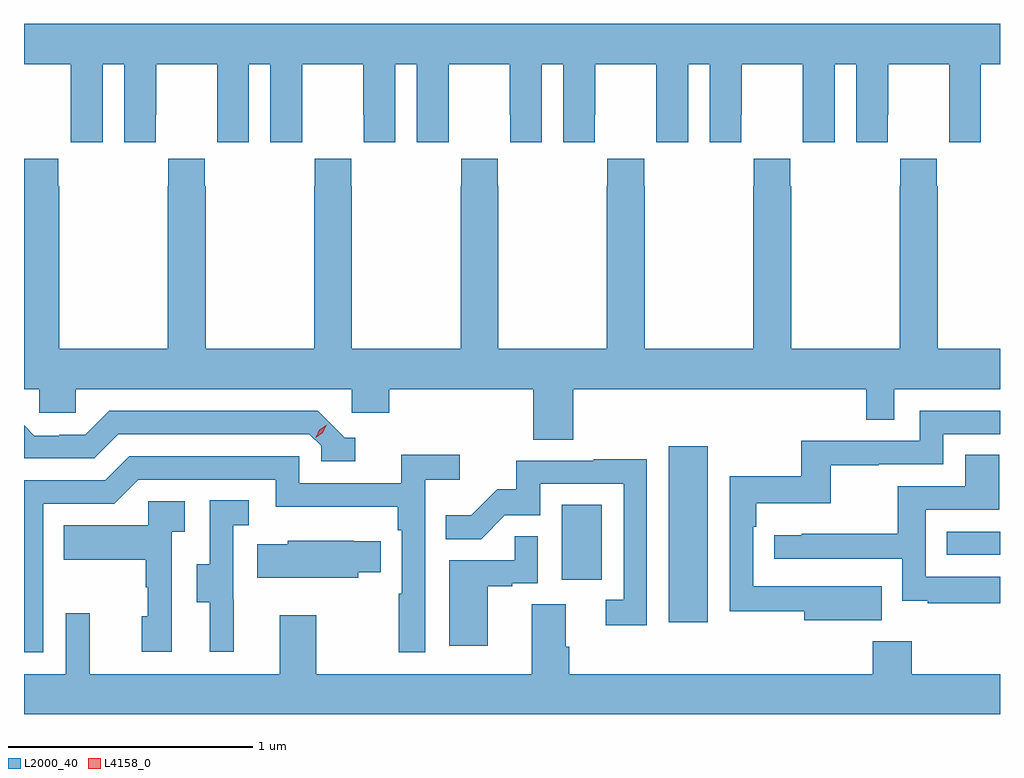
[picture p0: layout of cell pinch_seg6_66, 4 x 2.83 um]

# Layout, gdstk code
import gdstk
lib = gdstk.Library(unit=1e-6, precision=1e-09)
def R(c, l, rs):  # rectangles x0, y0, x1, y1
    for r in rs: c.add(gdstk.rectangle(r[:2], r[2:], *l))
def P(c, l, *ps):  # polygons
    for p in ps: c.add(gdstk.Polygon(p, *l))
L2000_40 = (2000, 40)
L4158_0 = (4158, 0)

pinch_seg6_66 = lib.new_cell('pinch_seg6_66')
R(pinch_seg6_66, L2000_40, [(889.52,926.4,889.681,927.121), (889.082,926.574,889.246,926.881), (890.659,926.676,890.878,926.772)])
P(pinch_seg6_66, L2000_40, [(886.878,928.688),(887.069,928.688),(887.069,928.48),(887.07,928.48),(887.07,928.368),(887.2,928.368),(887.2,928.688),(887.288,928.688),(887.288,928.368),(887.418,928.368),(887.418,928.48),(887.419,928.48),(887.419,928.688),(887.669,928.688),(887.669,928.48),(887.67,928.48),(887.67,928.368),(887.8,928.368),(887.8,928.688),(887.888,928.688),(887.888,928.368),(888.018,928.368),(888.018,928.48),(888.019,928.48),(888.019,928.688),(888.269,928.688),(888.269,928.48),(888.27,928.48),(888.27,928.368),(888.4,928.368),(888.4,928.688),(888.488,928.688),(888.488,928.368),(888.618,928.368),(888.618,928.48),(888.619,928.48),(888.619,928.688),(888.869,928.688),(888.869,928.48),(888.87,928.48),(888.87,928.368),(889,928.368),(889,928.688),(889.088,928.688),(889.088,928.368),(889.218,928.368),(889.218,928.48),(889.219,928.48),(889.219,928.688),(889.469,928.688),(889.469,928.48),(889.47,928.48),(889.47,928.368),(889.6,928.368),(889.6,928.688),(889.688,928.688),(889.688,928.368),(889.818,928.368),(889.818,928.48),(889.819,928.48),(889.819,928.688),(890.069,928.688),(890.069,928.48),(890.07,928.48),(890.07,928.368),(890.2,928.368),(890.2,928.688),(890.288,928.688),(890.288,928.368),(890.418,928.368),(890.418,928.48),(890.419,928.48),(890.419,928.688),(890.669,928.688),(890.669,928.48),(890.67,928.48),(890.67,928.368),(890.8,928.368),(890.8,928.688),(890.878,928.688),(890.878,928.852),(886.878,928.852)],
  [(889.13,927.356),(890.329,927.356),(890.329,927.229),(890.445,927.229),(890.445,927.356),(890.878,927.356),(890.878,927.52),(890.622,927.52),(890.622,928.187),(890.619,928.187),(890.619,928.3),(890.469,928.3),(890.469,928.187),(890.467,928.187),(890.467,927.52),(890.022,927.52),(890.022,928.187),(890.019,928.187),(890.019,928.3),(889.869,928.3),(889.869,928.187),(889.867,928.187),(889.867,927.52),(889.422,927.52),(889.422,928.187),(889.419,928.187),(889.419,928.3),(889.269,928.3),(889.269,928.187),(889.267,928.187),(889.267,927.52),(888.822,927.52),(888.822,928.187),(888.819,928.187),(888.819,928.3),(888.669,928.3),(888.669,928.187),(888.667,928.187),(888.667,927.52),(888.222,927.52),(888.222,928.187),(888.219,928.187),(888.219,928.3),(888.069,928.3),(888.069,928.187),(888.067,928.187),(888.067,927.52),(887.622,927.52),(887.622,928.187),(887.619,928.187),(887.619,928.3),(887.469,928.3),(887.469,928.187),(887.467,928.187),(887.467,927.52),(887.022,927.52),(887.022,928.187),(887.019,928.187),(887.019,928.3),(886.878,928.3),(886.878,927.356),(886.941,927.356),(886.941,927.258),(887.091,927.258),(887.091,927.356),(888.222,927.356),(888.222,927.258),(888.374,927.258),(888.374,927.356),(888.965,927.356),(888.965,927.148),(889.13,927.148)],
  [(888.235,927.156),(888.192,927.156),(888.081,927.267),(887.228,927.267),(887.129,927.168),(887.022,927.168),(887.022,927.165),(886.919,927.165),(886.878,927.207),(886.878,927.072),(887.166,927.072),(887.265,927.171),(888.048,927.171),(888.096,927.123),(888.096,927.06),(888.235,927.06)],
  [(890.393,926.548),(890.179,926.548),(890.179,926.547),(889.866,926.547),(889.866,926.792),(889.88,926.792),(889.88,926.888),(890.185,926.888),(890.185,927.043),(890.381,927.043),(890.381,927.048),(890.646,927.048),(890.646,927.171),(890.878,927.171),(890.878,927.267),(890.55,927.267),(890.55,927.144),(890.064,927.144),(890.064,926.998),(889.77,926.998),(889.77,926.446),(890.075,926.446),(890.075,926.408),(890.393,926.408)],
  [(890.878,926.586),(890.574,926.586),(890.574,926.862),(890.875,926.862),(890.875,927.086),(890.735,927.086),(890.735,926.958),(890.458,926.958),(890.458,926.762),(890.065,926.762),(890.065,926.757),(889.953,926.757),(889.953,926.661),(890.478,926.661),(890.478,926.489),(890.581,926.489),(890.581,926.478),(890.878,926.478)],
  [(886.956,926.886),(887.247,926.886),(887.346,926.985),(887.91,926.985),(887.91,926.873),(888.409,926.873),(888.409,926.777),(888.426,926.777),(888.426,926.516),(888.414,926.516),(888.414,926.277),(888.522,926.277),(888.522,926.984),(888.664,926.984),(888.664,927.086),(888.425,927.086),(888.425,926.97),(888.006,926.97),(888.006,927.081),(887.309,927.081),(887.21,926.982),(886.878,926.982),(886.878,926.277),(886.956,926.277)],
  [(889.431,927.068),(889.213,927.068),(889.213,927.063),(888.895,927.063),(888.895,926.946),(888.818,926.946),(888.711,926.839),(888.607,926.839),(888.607,926.74),(888.751,926.74),(888.849,926.838),(888.993,926.838),(888.993,926.967),(889.335,926.967),(889.335,926.493),(889.263,926.493),(889.263,926.388),(889.431,926.388)],
  [(887.738,926.493),(887.736,926.493),(887.736,926.797),(887.8,926.797),(887.8,926.9),(887.64,926.9),(887.64,926.637),(887.585,926.637),(887.585,926.482),(887.639,926.482),(887.639,926.28),(887.738,926.28)],
  [(887.484,926.771),(887.536,926.771),(887.536,926.895),(887.388,926.895),(887.388,926.797),(887.041,926.797),(887.041,926.657),(887.376,926.657),(887.376,926.543),(887.386,926.543),(887.386,926.424),(887.36,926.424),(887.36,926.28),(887.484,926.28)],
  [(888.778,926.547),(888.878,926.547),(888.878,926.559),(888.984,926.559),(888.984,926.753),(888.889,926.753),(888.889,926.655),(888.62,926.655),(888.62,926.304),(888.778,926.304)],
  [(888.247,926.605),(888.341,926.605),(888.341,926.733),(888.23,926.733),(888.23,926.734),(887.958,926.734),(887.958,926.719),(887.833,926.719),(887.833,926.582),(888.247,926.582)],
  [(890.878,926.188),(890.517,926.188),(890.517,926.323),(890.357,926.323),(890.357,926.188),(889.112,926.188),(889.112,926.3),(889.099,926.3),(889.099,926.474),(888.959,926.474),(888.959,926.188),(888.075,926.188),(888.075,926.428),(887.927,926.428),(887.927,926.188),(887.147,926.188),(887.147,926.437),(887.049,926.437),(887.049,926.188),(886.878,926.188),(886.878,926.024),(890.878,926.024)])
P(pinch_seg6_66, L4158_0, [(888.073,927.157),(888.073,927.157),(888.088,927.19),(888.118,927.209),(888.119,927.209),(888.119,927.209),(888.103,927.176),(888.073,927.157)])

lib.write_gds('pinch_seg6_66.gds')
